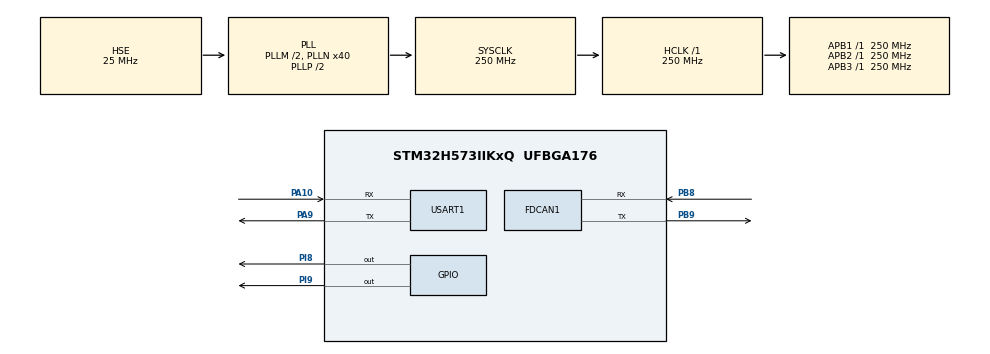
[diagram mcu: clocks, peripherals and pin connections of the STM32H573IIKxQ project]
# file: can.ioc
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BOOTPATH.BootPathName=LEGACY
BOOTPATH.UserSelectedBootPath=LEGACY
CORTEX_M33_NS.userName=CORTEX_M33
FDCAN1.CalculateBaudRateNominal=5208333
FDCAN1.CalculateTimeBitNominal=192
FDCAN1.CalculateTimeQuantumNominal=64.0
FDCAN1.Mode=FDCAN_MODE_INTERNAL_LOOPBACK
FDCAN1.StdFiltersNbr=1
Mcu.Family=STM32H5
Mcu.Name=STM32H573IIKxQ
Mcu.Package=UFBGA176
NVIC.FDCAN1_IT0_IRQn=true\:0\:0\:false\:false\:true\:true\:true\:true
NVIC.FDCAN1_IT1_IRQn=true\:0\:0\:false\:false\:true\:true\:true\:true
NVIC.PriorityGroup=NVIC_PRIORITYGROUP_4
PA10.Mode=Asynchronous
PA10.Signal=USART1_RX
PA9.Mode=Asynchronous
PA9.Signal=USART1_TX
PB8.Mode=FDCAN_Activate
PB8.Signal=FDCAN1_RX
PB9.Mode=FDCAN_Activate
PB9.Signal=FDCAN1_TX
PH0-OSC_IN(PH0).Mode=HSE-DIG-External-Clock-Source
PH0-OSC_IN(PH0).Signal=RCC_OSC_IN
PI8.Signal=GPIO_Output
PI9.Signal=GPIO_Output
ProjectManager.HeapSize=0x200
ProjectManager.StackSize=0x400
ProjectManager.TargetToolchain=STM32CubeIDE
RCC.ADCFreq_Value=250000000
RCC.AHBFreq_Value=250000000
RCC.APB1Freq_Value=250000000
RCC.APB1TimFreq_Value=250000000
RCC.APB2Freq_Value=250000000
RCC.APB2TimFreq_Value=250000000
RCC.APB3Freq_Value=250000000
RCC.CSI_VALUE=4000000
RCC.CortexFreq_Value=250000000
RCC.EPOD_VALUE=25000000
RCC.FDCANClockSelection=RCC_FDCANCLKSOURCE_PLL1Q
RCC.HCLKFreq_Value=250000000
RCC.HSE_VALUE=25000000
RCC.HSI48_VALUE=48000000
RCC.HSI_VALUE=64000000
RCC.LSE_VALUE=32768
RCC.LSIRC_VALUE=32000
RCC.PLL2FRACN=0
RCC.PLL3FRACN=0
RCC.PLLFRACN=0
RCC.PLLM=2
RCC.PLLN=40
RCC.PLLSourceVirtual=RCC_PLL1_SOURCE_HSE
RCC.SYSCLKFreq_VALUE=250000000
RCC.SYSCLKSource=RCC_SYSCLKSOURCE_PLLCLK
RCC.USBFreq_Value=48000000
RCC.VCOOutputFreq_Value=500000000
USART1.VirtualMode-Asynchronous=VM_ASYNC
VP_BOOTPATH_VS_BOOTPATH.Mode=BP_Activate
VP_CORTEX_M33_NS_VS_Hclk.Mode=Hclk_Mode
VP_ICACHE_VS_ICACHE.Mode=DirectMappedCache
VP_MEMORYMAP_VS_MEMORYMAP.Mode=CurAppReg
VP_PWR_VS_LPOM.Mode=PowerOptimisation
VP_PWR_VS_SECSignals.Mode=Security/Privilege
board=custom

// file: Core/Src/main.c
/* USER CODE BEGIN Header */
/**
  ******************************************************************************
  * @file           : main.c
  * @brief          : Main program body
  ******************************************************************************
  * @attention
  *
  * Copyright (c) 2025 STMicroelectronics.
  * All rights reserved.
  *
  * This software is licensed under terms that can be found in the LICENSE file
  * in the root directory of this software component.
  * If no LICENSE file comes with this software, it is provided AS-IS.
  *
  ******************************************************************************
  */
/* USER CODE END Header */
#include "main.h"

/* USER CODE BEGIN Includes */
#include "stdio.h"
/* USER CODE END Includes */

FDCAN_HandleTypeDef hfdcan1;

UART_HandleTypeDef huart1;

/* USER CODE BEGIN PV */

uint8_t TxData[8] = {123,2,3,44,5,6,7,8};
uint8_t RxData[8];

FDCAN_TxHeaderTypeDef TxHeader;
FDCAN_RxHeaderTypeDef RxHeader;
/* USER CODE END PV */

void SystemClock_Config(void);
static void MX_GPIO_Init(void);
static void MX_FDCAN1_Init(void);
static void MX_USART1_UART_Init(void);
static void MX_ICACHE_Init(void);
/* USER CODE BEGIN PFP */
void HAL_FDCAN_TxBufferCompleteCallback(FDCAN_HandleTypeDef *hfdcan, uint32_t BufferIndexes);
void HAL_FDCAN_TxEventFifoCallback(FDCAN_HandleTypeDef *hfdcan, uint32_t TxEventFifoITs);
void HAL_FDCAN_RxFifo0Callback(FDCAN_HandleTypeDef *hfdcan, uint32_t RxFifo0ITs);
void HAL_FDCAN_RxFifo1Callback(FDCAN_HandleTypeDef *hfdcan, uint32_t RxFifo1ITs);

/* USER CODE END PFP */

/* USER CODE BEGIN 0 */
int _write(int file, char *ptr, int len)
{
    HAL_UART_Transmit(&huart1, (uint8_t*)ptr, len, HAL_MAX_DELAY);
    return len;
}
/* USER CODE END 0 */

int main(void)
{

  /* MCU Configuration--------------------------------------------------------*/

  /* Reset of all peripherals, Initializes the Flash interface and the Systick. */
  HAL_Init();

  /* Configure the system clock */
  SystemClock_Config();

  /* Initialize all configured peripherals */
  MX_GPIO_Init();
  MX_FDCAN1_Init();
  MX_USART1_UART_Init();
  MX_ICACHE_Init();
  /* USER CODE BEGIN 2 */
  HAL_FDCAN_Start(&hfdcan1);

  TxHeader.Identifier = 0x123;
  TxHeader.IdType = FDCAN_STANDARD_ID;
  TxHeader.TxFrameType = FDCAN_DATA_FRAME;
  TxHeader.DataLength = FDCAN_DLC_BYTES_8;
  TxHeader.ErrorStateIndicator = FDCAN_ESI_ACTIVE;
  TxHeader.BitRateSwitch = FDCAN_BRS_OFF;
  TxHeader.FDFormat = FDCAN_CLASSIC_CAN;
  TxHeader.TxEventFifoControl = FDCAN_NO_TX_EVENTS;

    HAL_FDCAN_AddMessageToTxFifoQ(&hfdcan1, &TxHeader, TxData);
	  HAL_Delay(10);
  // Send the message

	  if(HAL_FDCAN_AddMessageToTxFifoQ(&hfdcan1, &TxHeader, TxData) != HAL_OK)
	  	    {
	  	        printf("FDCAN Tx Failed!\r\n");
	  	    }
	  	    else
	  	    {
	  	        // Small delay to allow loopback reception
	  	        HAL_Delay(10);

	  	        // Receive the message
	  	        if(HAL_FDCAN_GetRxMessage(&hfdcan1, FDCAN_RX_FIFO0, &RxHeader, RxData) == HAL_OK)
	  	        {
	  	            printf("FDCAN Loopback Success: ");
	  	            for(int i=0;i<8;i++)
	  	                printf("%d ", RxData[i]);
	  	            printf("\r\n");

	  	        }
	  	        else
	  	        {
	  	            printf("FDCAN Receive Failed!\r\n");
	  	        }
	  	    }

  /* USER CODE END 2 */

  /* Infinite loop */
  while (1)
  {

  }
}

void SystemClock_Config(void)
{
  RCC_OscInitTypeDef RCC_OscInitStruct = {0};
  RCC_ClkInitTypeDef RCC_ClkInitStruct = {0};

  /** Configure the main internal regulator output voltage
  */
  __HAL_PWR_VOLTAGESCALING_CONFIG(PWR_REGULATOR_VOLTAGE_SCALE0);

  while(!__HAL_PWR_GET_FLAG(PWR_FLAG_VOSRDY)) {}

  /** Initializes the RCC Oscillators according to the specified parameters
  * in the RCC_OscInitTypeDef structure.
  */
  RCC_OscInitStruct.OscillatorType = RCC_OSCILLATORTYPE_HSE;
  RCC_OscInitStruct.HSEState = RCC_HSE_BYPASS_DIGITAL;
  RCC_OscInitStruct.PLL.PLLState = RCC_PLL_ON;
  RCC_OscInitStruct.PLL.PLLSource = RCC_PLL1_SOURCE_HSE;
  RCC_OscInitStruct.PLL.PLLM = 2;
  RCC_OscInitStruct.PLL.PLLN = 40;
  RCC_OscInitStruct.PLL.PLLP = 2;
  RCC_OscInitStruct.PLL.PLLQ = 2;
  RCC_OscInitStruct.PLL.PLLR = 2;
  RCC_OscInitStruct.PLL.PLLRGE = RCC_PLL1_VCIRANGE_3;
  RCC_OscInitStruct.PLL.PLLVCOSEL = RCC_PLL1_VCORANGE_WIDE;
  RCC_OscInitStruct.PLL.PLLFRACN = 0;
  if (HAL_RCC_OscConfig(&RCC_OscInitStruct) != HAL_OK)
  {
    Error_Handler();
  }

  /** Initializes the CPU, AHB and APB buses clocks
  */
  RCC_ClkInitStruct.ClockType = RCC_CLOCKTYPE_HCLK|RCC_CLOCKTYPE_SYSCLK
                              |RCC_CLOCKTYPE_PCLK1|RCC_CLOCKTYPE_PCLK2
                              |RCC_CLOCKTYPE_PCLK3;
  RCC_ClkInitStruct.SYSCLKSource = RCC_SYSCLKSOURCE_PLLCLK;
  RCC_ClkInitStruct.AHBCLKDivider = RCC_SYSCLK_DIV1;
  RCC_ClkInitStruct.APB1CLKDivider = RCC_HCLK_DIV1;
  RCC_ClkInitStruct.APB2CLKDivider = RCC_HCLK_DIV1;
  RCC_ClkInitStruct.APB3CLKDivider = RCC_HCLK_DIV1;

  if (HAL_RCC_ClockConfig(&RCC_ClkInitStruct, FLASH_LATENCY_5) != HAL_OK)
  {
    Error_Handler();
  }

  /** Configure the programming delay
  */
  __HAL_FLASH_SET_PROGRAM_DELAY(FLASH_PROGRAMMING_DELAY_2);
}

static void MX_FDCAN1_Init(void)
{

  hfdcan1.Instance = FDCAN1;
  hfdcan1.Init.ClockDivider = FDCAN_CLOCK_DIV1;
  hfdcan1.Init.FrameFormat = FDCAN_FRAME_CLASSIC;
  hfdcan1.Init.Mode = FDCAN_MODE_INTERNAL_LOOPBACK;
  hfdcan1.Init.AutoRetransmission = DISABLE;
  hfdcan1.Init.TransmitPause = DISABLE;
  hfdcan1.Init.ProtocolException = DISABLE;
  hfdcan1.Init.NominalPrescaler = 16;
  hfdcan1.Init.NominalSyncJumpWidth = 1;
  hfdcan1.Init.NominalTimeSeg1 = 1;
  hfdcan1.Init.NominalTimeSeg2 = 1;
  hfdcan1.Init.DataPrescaler = 1;
  hfdcan1.Init.DataSyncJumpWidth = 1;
  hfdcan1.Init.DataTimeSeg1 = 1;
  hfdcan1.Init.DataTimeSeg2 = 1;
  hfdcan1.Init.StdFiltersNbr = 1;
  hfdcan1.Init.ExtFiltersNbr = 0;
  hfdcan1.Init.TxFifoQueueMode = FDCAN_TX_FIFO_OPERATION;
  if (HAL_FDCAN_Init(&hfdcan1) != HAL_OK)
  {
    Error_Handler();
  }

}

static void MX_ICACHE_Init(void)
{

  /** Enable instruction cache in 1-way (direct mapped cache)
  */
  if (HAL_ICACHE_ConfigAssociativityMode(ICACHE_1WAY) != HAL_OK)
  {
    Error_Handler();
  }
  if (HAL_ICACHE_Enable() != HAL_OK)
  {
    Error_Handler();
  }

}

static void MX_USART1_UART_Init(void)
{

  huart1.Instance = USART1;
  huart1.Init.BaudRate = 115200;
  huart1.Init.WordLength = UART_WORDLENGTH_8B;
  huart1.Init.StopBits = UART_STOPBITS_1;
  huart1.Init.Parity = UART_PARITY_NONE;
  huart1.Init.Mode = UART_MODE_TX_RX;
  huart1.Init.HwFlowCtl = UART_HWCONTROL_NONE;
  huart1.Init.OverSampling = UART_OVERSAMPLING_16;
  huart1.Init.OneBitSampling = UART_ONE_BIT_SAMPLE_DISABLE;
  huart1.Init.ClockPrescaler = UART_PRESCALER_DIV1;
  huart1.AdvancedInit.AdvFeatureInit = UART_ADVFEATURE_NO_INIT;
  if (HAL_UART_Init(&huart1) != HAL_OK)
  {
    Error_Handler();
  }
  if (HAL_UARTEx_SetTxFifoThreshold(&huart1, UART_TXFIFO_THRESHOLD_1_8) != HAL_OK)
  {
    Error_Handler();
  }
  if (HAL_UARTEx_SetRxFifoThreshold(&huart1, UART_RXFIFO_THRESHOLD_1_8) != HAL_OK)
  {
    Error_Handler();
  }
  if (HAL_UARTEx_DisableFifoMode(&huart1) != HAL_OK)
  {
    Error_Handler();
  }

}

static void MX_GPIO_Init(void)
{
  GPIO_InitTypeDef GPIO_InitStruct = {0};

  /* GPIO Ports Clock Enable */
  __HAL_RCC_GPIOB_CLK_ENABLE();
  __HAL_RCC_GPIOI_CLK_ENABLE();
  __HAL_RCC_GPIOA_CLK_ENABLE();
  __HAL_RCC_GPIOH_CLK_ENABLE();

  /*Configure GPIO pin Output Level */
  HAL_GPIO_WritePin(GPIOI, GPIO_PIN_9|GPIO_PIN_8, GPIO_PIN_RESET);

  /*Configure GPIO pins : PI9 PI8 */
  GPIO_InitStruct.Pin = GPIO_PIN_9|GPIO_PIN_8;
  GPIO_InitStruct.Mode = GPIO_MODE_OUTPUT_PP;
  GPIO_InitStruct.Pull = GPIO_NOPULL;
  GPIO_InitStruct.Speed = GPIO_SPEED_FREQ_LOW;
  HAL_GPIO_Init(GPIOI, &GPIO_InitStruct);

}

/* USER CODE BEGIN 4 */
void HAL_FDCAN_TxBufferCompleteCallback(FDCAN_HandleTypeDef *hfdcan, uint32_t BufferIndexes)
{
	printf("Buffer filed");
}
void HAL_FDCAN_TxEventFifoCallback(FDCAN_HandleTypeDef *hfdcan, uint32_t TxEventFifoITs)
{
	printf("massage transmitted");
}
void HAL_FDCAN_RxFifo0Callback(FDCAN_HandleTypeDef *hfdcan, uint32_t RxFifo0ITs)
{
	 if(HAL_FDCAN_GetRxMessage(&hfdcan1, FDCAN_RX_FIFO0, &RxHeader, RxData) == HAL_OK)
		  	        {
		  	            printf("FDCAN Loopback Success: ");
		  	            for(int i=0;i<8;i++)
		  	                printf("%d ", RxData[i]);
		  	            printf("\r\n");
	printf("massage transmitted");
}
}
void HAL_FDCAN_RxFifo1Callback(FDCAN_HandleTypeDef *hfdcan, uint32_t RxFifo1ITs)
{
	printf("massage transmitted");
}
/* USER CODE END 4 */

void Error_Handler(void)
{
  __disable_irq();
  while (1)
  {
  }
}
